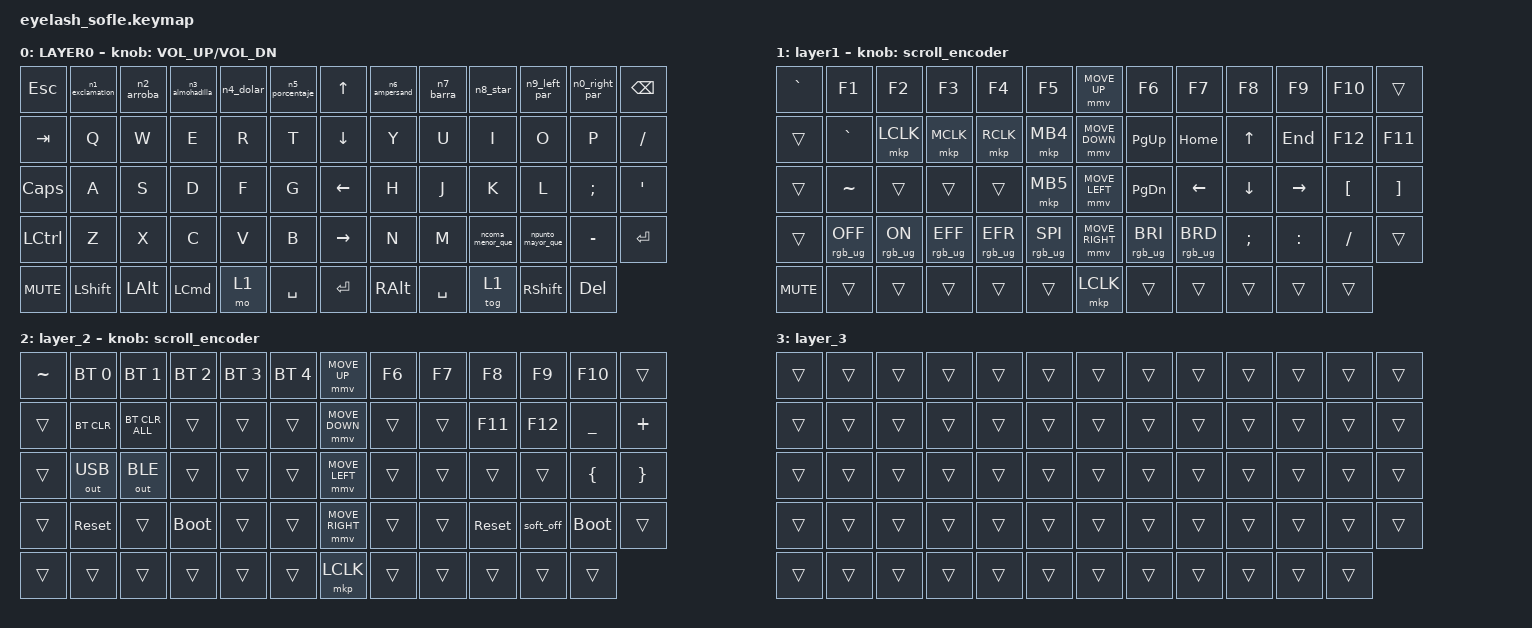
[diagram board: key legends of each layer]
#define ZMK_POINTING_DEFAULT_MOVE_VAL 1200  // 600
#define ZMK_POINTING_DEFAULT_SCRL_VAL 25   // 10

#include <input/processors.dtsi>
#include <zephyr/dt-bindings/input/input-event-codes.h>
#include <behaviors.dtsi>
#include <dt-bindings/zmk/bt.h>
#include <dt-bindings/zmk/keys.h>
#include <dt-bindings/zmk/outputs.h>
#include <dt-bindings/zmk/pointing.h>
#include <dt-bindings/zmk/rgb.h>

&mmv_input_listener { input-processors = <&zip_xy_scaler 2 1>; };

&msc_input_listener { input-processors = <&zip_scroll_scaler 2 1>; };

&msc {
    acceleration-exponent = <1>;      // 0
    time-to-max-speed-ms = <100>;       // 300
    delay-ms = <0>;                   // 0
};

&mmv {
    time-to-max-speed-ms = <500>;
    acceleration-exponent = <1>;
    trigger-period-ms = <16>;
};

&soft_off { hold-time-ms = <2000>; };

/ {
    scroll_encoder: scroll_encoder {
        compatible = "zmk,behavior-sensor-rotate";
        #sensor-binding-cells = <0>;
        bindings = <&msc SCRL_DOWN>, <&msc SCRL_UP>;

        tap-ms = <100>;
    };

    n8_star: n8_star {
        compatible = "zmk,behavior-mod-morph";
        label = "N8_STAR";
        bindings = <&kp KP_N8>, <&kp KP_ASTERISK>;

        #binding-cells = <0>;
        mods = <(MOD_LSFT|MOD_RSFT)>;
    };

    n1_exclamation: n1_exclamation {
        compatible = "zmk,behavior-mod-morph";
        label = "N1_EXCLAMATION";
        bindings = <&kp KP_N1>, <&kp EXCLAMATION>;

        #binding-cells = <0>;
        mods = <(MOD_LSFT|MOD_RSFT)>;
    };

    n2_arroba: n2_arroba {
        compatible = "zmk,behavior-mod-morph";
        label = "N2_ARROBA";
        bindings = <&kp KP_N2>, <&kp AT_SIGN>;

        #binding-cells = <0>;
        mods = <(MOD_LSFT|MOD_RSFT)>;
    };

    n3_almohadilla: n3_almohadilla {
        compatible = "zmk,behavior-mod-morph";
        label = "N3_ALMOHADILLA";
        bindings = <&kp KP_N3>, <&kp HASH>;

        #binding-cells = <0>;
        mods = <(MOD_LSFT|MOD_RSFT)>;
    };

    n4_dolar: n4_dolar {
        compatible = "zmk,behavior-mod-morph";
        label = "N4_DOLAR";
        bindings = <&kp N1>, <&kp DOLLAR>;

        #binding-cells = <0>;
        mods = <(MOD_LSFT|MOD_RSFT)>;
    };

    n5_porcentaje: n5_porcentaje {
        compatible = "zmk,behavior-mod-morph";
        label = "N5_PORCENTAJE";
        bindings = <&kp KP_N5>, <&kp PERCENT>;

        #binding-cells = <0>;
        mods = <(MOD_LSFT|MOD_RSFT)>;
    };

    n6_ampersand: n6_ampersand {
        compatible = "zmk,behavior-mod-morph";
        label = "N6_AMPERSAND";
        bindings = <&kp KP_N6>, <&kp AMPERSAND>;

        #binding-cells = <0>;
        mods = <(MOD_LSFT|MOD_RSFT)>;
    };

    n7_barra: n7_barra {
        compatible = "zmk,behavior-mod-morph";
        label = "N7_BARRA";
        bindings = <&kp KP_N7>, <&kp SLASH>;

        #binding-cells = <0>;
        mods = <(MOD_LSFT|MOD_RSFT)>;
    };

    n9_left_par: n9_left_par {
        compatible = "zmk,behavior-mod-morph";
        label = "N9_LEFT_PAR";
        bindings = <&kp KP_N9>, <&kp LEFT_PARENTHESIS>;

        #binding-cells = <0>;
        mods = <(MOD_LSFT|MOD_RSFT)>;
    };

    n0_right_par: n0_right_par {
        compatible = "zmk,behavior-mod-morph";
        label = "N0_RIGHT_PAR";
        bindings = <&kp KP_NUMBER_0>, <&kp RIGHT_PARENTHESIS>;

        #binding-cells = <0>;
        mods = <(MOD_LSFT|MOD_RSFT)>;
    };

    ncoma_menor_que: ncoma_menor_que {
        compatible = "zmk,behavior-mod-morph";
        label = "NCOMA_MENOR_QUE";
        bindings = <&kp COMMA>, <&kp LT>;

        #binding-cells = <0>;
        mods = <(MOD_LSFT|MOD_RSFT)>;
    };

    npunto_mayor_que: npunto_mayor_que {
        compatible = "zmk,behavior-mod-morph";
        label = "NPUNTO_MAYOR_QUE";
        bindings = <&kp PERIOD>, <&kp GT>;

        #binding-cells = <0>;
        mods = <(MOD_LSFT|MOD_RSFT)>;
    };

    behaviors {
    };

    combos {
        compatible = "zmk,combos";

        softoff {
            bindings = <&soft_off>;
            key-positions = <14 28 40>;
        };

        TOGGLE_LAYER_2 {
            bindings = <&tog 2>;
            key-positions = <56 61>;
        };
    };

    keymap {
        compatible = "zmk,keymap";

        layer0 {
            bindings = <
&kp ESC     &n1_exclamation  &n2_arroba    &n3_almohadilla  &n4_dolar  &n5_porcentaje    &kp UP_ARROW     &n6_ampersand  &n7_barra  &n8_star          &n9_left_par       &n0_right_par  &kp BACKSPACE
&kp TAB     &kp Q            &kp W         &kp E            &kp R      &kp T             &kp DOWN_ARROW   &kp Y          &kp U      &kp I             &kp O              &kp P          &kp SLASH
&kp CAPS    &kp A            &kp S         &kp D            &kp F      &kp G             &kp LEFT_ARROW   &kp H          &kp J      &kp K             &kp L              &kp SEMI       &kp SINGLE_QUOTE
&kp LCTRL   &kp Z            &kp X         &kp C            &kp V      &kp B             &kp RIGHT_ARROW  &kp N          &kp M      &ncoma_menor_que  &npunto_mayor_que  &kp MINUS      &kp ENTER
&kp C_MUTE  &kp LSHIFT       &kp LEFT_ALT  &kp LCMD         &mo 1      &kp SPACE         &kp ENTER        &kp RIGHT_ALT  &kp SPACE  &tog 1            &kp RIGHT_SHIFT    &kp DELETE
            >;

            sensor-bindings = <&inc_dec_kp C_VOLUME_UP C_VOL_DN>;
            display-name = "LAYER0";
        };

        layer_1 {
            bindings = <
&kp GRAVE   &kp F1           &kp F2          &kp F3           &kp F4           &kp F5             &mmv MOVE_UP     &kp F6           &kp F7           &kp F8         &kp F9     &kp F10           &trans
&trans      &kp GRAVE        &mkp LCLK       &mkp MCLK        &mkp RCLK        &mkp MB4           &mmv MOVE_DOWN   &kp PG_UP        &kp HOME         &kp UP         &kp END    &kp F12           &kp F11
&trans      &kp TILDE        &trans          &trans           &trans           &mkp MB5           &mmv MOVE_LEFT   &kp PG_DN        &kp LEFT         &kp DOWN       &kp RIGHT  &kp LEFT_BRACKET  &kp RIGHT_BRACKET
&trans      &rgb_ug RGB_OFF  &rgb_ug RGB_ON  &rgb_ug RGB_EFF  &rgb_ug RGB_EFR  &rgb_ug RGB_SPI    &mmv MOVE_RIGHT  &rgb_ug RGB_BRI  &rgb_ug RGB_BRD  &kp SEMICOLON  &kp COLON  &kp SLASH         &trans
&kp C_MUTE  &trans           &trans          &trans           &trans           &trans             &mkp LCLK        &trans           &trans           &trans         &trans     &trans
            >;

            display-name = "layer1";
            sensor-bindings = <&scroll_encoder>;
        };

        layer_2 {
            bindings = <
&kp TILDE  &bt BT_SEL 0  &bt BT_SEL 1    &bt BT_SEL 2  &bt BT_SEL 3  &bt BT_SEL 4    &mmv MOVE_UP     &kp F6  &kp F7  &kp F8      &kp F9     &kp F10      &trans
&trans     &bt BT_CLR    &bt BT_CLR_ALL  &trans        &trans        &trans          &mmv MOVE_DOWN   &trans  &trans  &kp F11     &kp F12    &kp UNDER    &kp PLUS
&trans     &out OUT_USB  &out OUT_BLE    &trans        &trans        &trans          &mmv MOVE_LEFT   &trans  &trans  &trans      &trans     &kp LBRC     &kp RBRC
&trans     &sys_reset    &trans          &bootloader   &trans        &trans          &mmv MOVE_RIGHT  &trans  &trans  &sys_reset  &soft_off  &bootloader  &trans
&trans     &trans        &trans          &trans        &trans        &trans          &mkp LCLK        &trans  &trans  &trans      &trans     &trans
            >;

            sensor-bindings = <&scroll_encoder>;
        };

        layer_3 {
            bindings = <
&trans  &trans  &trans  &trans  &trans  &trans    &trans  &trans  &trans  &trans  &trans  &trans  &trans
&trans  &trans  &trans  &trans  &trans  &trans    &trans  &trans  &trans  &trans  &trans  &trans  &trans
&trans  &trans  &trans  &trans  &trans  &trans    &trans  &trans  &trans  &trans  &trans  &trans  &trans
&trans  &trans  &trans  &trans  &trans  &trans    &trans  &trans  &trans  &trans  &trans  &trans  &trans
&trans  &trans  &trans  &trans  &trans  &trans    &trans  &trans  &trans  &trans  &trans  &trans
            >;
        };
    };
};
